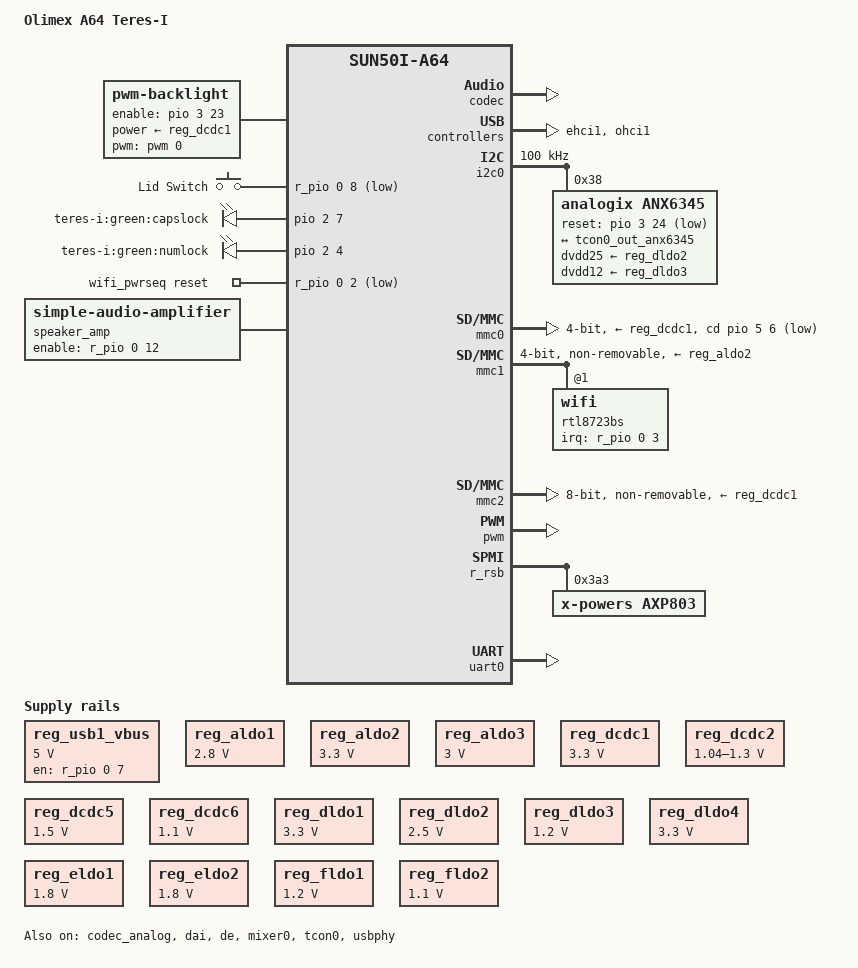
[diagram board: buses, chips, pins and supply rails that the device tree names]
// SPDX-License-Identifier: (GPL-2.0 OR MIT)
// Copyright (C) Harald Geyer <harald@ccbib.org>
// based on sun50i-a64-olinuxino.dts by Jagan Teki <jteki@openedev.com>

/dts-v1/;

#include "sun50i-a64.dtsi"
#include "sun50i-a64-cpu-opp.dtsi"

#include <dt-bindings/gpio/gpio.h>
#include <dt-bindings/input/input.h>
#include <dt-bindings/pwm/pwm.h>

/ {
	model = "Olimex A64 Teres-I";
	compatible = "olimex,a64-teres-i", "allwinner,sun50i-a64";

	aliases {
		serial0 = &uart0;
	};

	backlight: backlight {
		compatible = "pwm-backlight";
		pwms = <&pwm 0 50000 0>;
		power-supply = <&reg_dcdc1>;
		brightness-levels = <0 5 7 10 14 20 28 40 56 80 112>;
		default-brightness-level = <5>;
		enable-gpios = <&pio 3 23 GPIO_ACTIVE_HIGH>; /* PD23 */
	};

	chosen {
		stdout-path = "serial0:115200n8";

		framebuffer-lcd {
			eDP25-supply = <&reg_dldo2>;
			eDP12-supply = <&reg_dldo3>;
		};
	};

	gpio-keys {
		compatible = "gpio-keys";

		lid-switch {
			label = "Lid Switch";
			gpios = <&r_pio 0 8 GPIO_ACTIVE_LOW>; /* PL8 */
			linux,input-type = <EV_SW>;
			linux,code = <SW_LID>;
			wakeup-source;
		};
	};

	leds {
		compatible = "gpio-leds";

		led-0 {
			label = "teres-i:green:capslock";
			gpios = <&pio 2 7 GPIO_ACTIVE_HIGH>; /* PC7 */
		};

		led-1 {
			label = "teres-i:green:numlock";
			gpios = <&pio 2 4 GPIO_ACTIVE_HIGH>; /* PC4 */
		};
	};

	reg_usb1_vbus: usb1-vbus {
		compatible = "regulator-fixed";
		regulator-name = "usb1-vbus";
		regulator-min-microvolt = <5000000>;
		regulator-max-microvolt = <5000000>;
		enable-active-high;
		gpio = <&r_pio 0 7 GPIO_ACTIVE_HIGH>; /* PL7 */
		status = "okay";
	};

	wifi_pwrseq: wifi_pwrseq {
		compatible = "mmc-pwrseq-simple";
		reset-gpios = <&r_pio 0 2 GPIO_ACTIVE_LOW>; /* PL2 */
	};

	speaker_amp: audio-amplifier {
		compatible = "simple-audio-amplifier";
		enable-gpios = <&r_pio 0 12 GPIO_ACTIVE_HIGH>; /* PL12 */
		sound-name-prefix = "Speaker Amp";
	};
};

&codec {
	status = "okay";
};

&codec_analog {
	cpvdd-supply = <&reg_eldo1>;
	status = "okay";
};

&dai {
	status = "okay";
};

&de {
	status = "okay";
};

&cpu0 {
	cpu-supply = <&reg_dcdc2>;
};

&cpu1 {
	cpu-supply = <&reg_dcdc2>;
};

&cpu2 {
	cpu-supply = <&reg_dcdc2>;
};

&cpu3 {
	cpu-supply = <&reg_dcdc2>;
};

&ehci1 {
	status = "okay";
};


&i2c0 {
	clock-frequency = <100000>;
	status = "okay";

	anx6345: anx6345@38 {
		compatible = "analogix,anx6345";
		reg = <0x38>;
		reset-gpios = <&pio 3 24 GPIO_ACTIVE_LOW>; /* PD24 */
		dvdd25-supply = <&reg_dldo2>;
		dvdd12-supply = <&reg_dldo3>;

		ports {
			#address-cells = <1>;
			#size-cells = <0>;

			port@0 {
				reg = <0>;

				anx6345_in: endpoint {
					remote-endpoint = <&tcon0_out_anx6345>;
				};
			};
		};
	};
};

&mixer0 {
	status = "okay";
};

&mmc0 {
	pinctrl-names = "default";
	pinctrl-0 = <&mmc0_pins>;
	vmmc-supply = <&reg_dcdc1>;
	cd-gpios = <&pio 5 6 GPIO_ACTIVE_LOW>;
	disable-wp;
	bus-width = <4>;
	status = "okay";
};

&mmc1 {
	pinctrl-names = "default";
	pinctrl-0 = <&mmc1_pins>;
	vmmc-supply = <&reg_aldo2>;
	vqmmc-supply = <&reg_dldo4>;
	mmc-pwrseq = <&wifi_pwrseq>;
	bus-width = <4>;
	non-removable;
	status = "okay";

	rtl8723bs: wifi@1 {
		reg = <1>;
		interrupt-parent = <&r_pio>;
		interrupts = <0 3 IRQ_TYPE_LEVEL_LOW>; /* PL3 */
		interrupt-names = "host-wake";
	};
};

&mmc2 {
	pinctrl-names = "default";
	pinctrl-0 = <&mmc2_pins>;
	vmmc-supply = <&reg_dcdc1>;
	vqmmc-supply = <&reg_dcdc1>;
	bus-width = <8>;
	non-removable;
	cap-mmc-hw-reset;
	status = "okay";
};

&ohci1 {
	status = "okay";
};

&pwm {
	status = "okay";
};

&r_rsb {
	status = "okay";

	axp803: pmic@3a3 {
		compatible = "x-powers,axp803";
		reg = <0x3a3>;
		interrupt-parent = <&r_intc>;
		interrupts = <GIC_SPI 32 IRQ_TYPE_LEVEL_LOW>;
	};
};

#include "axp803.dtsi"

&ac_power_supply {
	status = "okay";
};

&battery_power_supply {
	status = "okay";
};

&reg_aldo1 {
	regulator-always-on;
	regulator-min-microvolt = <2800000>;
	regulator-max-microvolt = <2800000>;
	regulator-name = "vcc-pe";
};

&reg_aldo2 {
	regulator-always-on;
	regulator-min-microvolt = <3300000>;
	regulator-max-microvolt = <3300000>;
	regulator-name = "vcc-pl";
};

&reg_aldo3 {
	regulator-always-on;
	regulator-min-microvolt = <3000000>;
	regulator-max-microvolt = <3000000>;
	regulator-name = "vcc-pll-avcc";
};

&reg_dcdc1 {
	regulator-always-on;
	regulator-min-microvolt = <3300000>;
	regulator-max-microvolt = <3300000>;
	regulator-name = "vcc-3v3";
};

&reg_dcdc2 {
	regulator-always-on;
	regulator-min-microvolt = <1040000>;
	regulator-max-microvolt = <1300000>;
	regulator-name = "vdd-cpux";
};

/* DCDC3 is polyphased with DCDC2 */

&reg_dcdc5 {
	regulator-always-on;
	regulator-min-microvolt = <1500000>;
	regulator-max-microvolt = <1500000>;
	regulator-name = "vcc-ddr3";
};

&reg_dcdc6 {
	regulator-always-on;
	regulator-min-microvolt = <1100000>;
	regulator-max-microvolt = <1100000>;
	regulator-name = "vdd-sys";
};

&reg_dldo1 {
	regulator-min-microvolt = <3300000>;
	regulator-max-microvolt = <3300000>;
	regulator-name = "vcc-hdmi";
};

&reg_dldo2 {
	regulator-min-microvolt = <2500000>;
	regulator-max-microvolt = <2500000>;
	regulator-name = "vcc-pd";
};

&reg_dldo3 {
	regulator-min-microvolt = <1200000>;
	regulator-max-microvolt = <1200000>;
	regulator-name = "vdd-edp";
};

&reg_dldo4 {
	regulator-min-microvolt = <3300000>;
	regulator-max-microvolt = <3300000>;
	regulator-name = "vcc-wifi-io";
};

&reg_eldo1 {
	regulator-min-microvolt = <1800000>;
	regulator-max-microvolt = <1800000>;
	regulator-name = "cpvdd";
};

&reg_eldo2 {
	regulator-min-microvolt = <1800000>;
	regulator-max-microvolt = <1800000>;
	regulator-name = "vcc-dvdd-csi";
};

&reg_fldo1 {
	regulator-min-microvolt = <1200000>;
	regulator-max-microvolt = <1200000>;
	regulator-name = "vcc-1v2-hsic";
};

/*
 * The A64 chip cannot work with this regulator off, although
 * it seems to be only driving the AR100 core.
 * Maybe we don't still know well about CPUs domain.
 */
&reg_fldo2 {
	regulator-always-on;
	regulator-min-microvolt = <1100000>;
	regulator-max-microvolt = <1100000>;
	regulator-name = "vdd-cpus";
};

&reg_rtc_ldo {
	regulator-name = "vcc-rtc";
};

&simplefb_hdmi {
	vcc-hdmi-supply = <&reg_dldo1>;
};

&sound {
	simple-audio-card,aux-devs = <&codec_analog>, <&speaker_amp>;
	simple-audio-card,widgets = "Headphone", "Headphone Jack",
				    "Microphone", "Headset Microphone",
				    "Microphone", "Internal Microphone",
				    "Speaker", "Internal Speaker";
	simple-audio-card,routing =
			"Left DAC", "DACL",
			"Right DAC", "DACR",
			"ADCL", "Left ADC",
			"ADCR", "Right ADC",
			"Headphone Jack", "HP",
			"Speaker Amp INL", "LINEOUT",
			"Speaker Amp INR", "LINEOUT",
			"Internal Speaker", "Speaker Amp OUTL",
			"Internal Speaker", "Speaker Amp OUTR",
			"Internal Microphone", "MBIAS",
			"MIC1", "Internal Microphone",
			"Headset Microphone", "HBIAS",
			"MIC2", "Headset Microphone";
	status = "okay";
};

&tcon0 {
	pinctrl-names = "default";
	pinctrl-0 = <&lcd_rgb666_pins>;

	status = "okay";
};

&tcon0_out {
	tcon0_out_anx6345: endpoint@0 {
		reg = <0>;
		remote-endpoint = <&anx6345_in>;
	};
};

&uart0 {
	pinctrl-names = "default";
	pinctrl-0 = <&uart0_pb_pins>;
	status = "okay";
};

&usbphy {
	usb1_vbus-supply = <&reg_usb1_vbus>;
	status = "okay";
};
